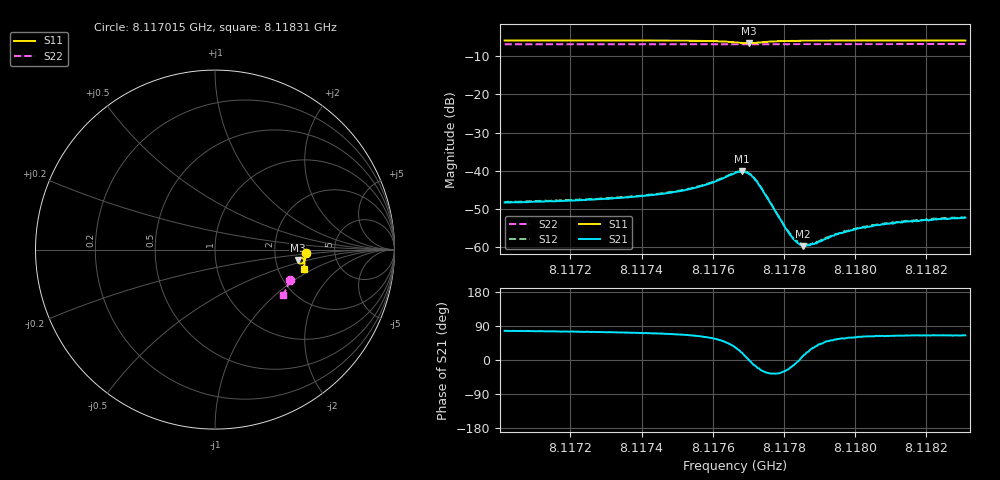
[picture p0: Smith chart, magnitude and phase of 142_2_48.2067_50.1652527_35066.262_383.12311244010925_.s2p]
#  HZ  S  RI  R  50.00
! Rohde & Schwarz Vector Network Analyzer
! Rohde-Schwarz,ZNB20-2Port,1311601062101988,3.16
! Created: UTC 3/20/2024, 11:42:21 AM
! freq[Hz]  re:S11  im:S11  re:S21  im:S21  re:S12  im:S12  re:S22  im:S22
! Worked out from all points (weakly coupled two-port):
!   401 points, 8.117015 GHz to 8.11831 GHz, reference 50 ohm
!   highest |S21| = -40.09 dB at 8.117682 GHz (marker M1); lowest = -59.6 dB at 8.117853 GHz (marker M2)
!   lowest |S11| = -6.6 dB at 8.117701 GHz (marker M3), VSWR 2.74, Z = 134 - j19.7 ohm
!   |S11| at or under -10 dB: nowhere
!   |S22| runs from -6.9 to -6.8 dB; largest |S21 - S12| = 0.00035
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8.1170152e9  0.5058 -0.0182  0.000861 0.00376  0.000913 0.0038  0.4173 -0.1705
8.117232e9  0.5044 -0.0358  0.00109 0.00399  0.00115 0.00405  0.4118 -0.1848
8.1174488e9  0.5012 -0.055  0.0017 0.00465  0.00178 0.00473  0.406 -0.1988
8.1175135e9  0.4989 -0.0621  0.00217 0.00506  0.00223 0.00516  0.404 -0.203
8.1175653e9  0.4955 -0.0685  0.0029 0.00557  0.00303 0.00562  0.4021 -0.2063
8.1176042e9  0.4906 -0.0742  0.00398 0.00596  0.0041 0.00603  0.4011 -0.2088
8.1176624e9  0.4721 -0.0775  0.00782 0.00521  0.00798 0.00518  0.3984 -0.2123
8.1176818e9  0.4637 -0.0705  0.00933 0.0033  0.00949 0.00311  0.3976 -0.213
8.1177012e9  0.4617 -0.0577  0.00917 2.5e-05  0.00936 -5.76e-05  0.3971 -0.2136
8.1177142e9  0.466 -0.0501  0.00805 -0.00173  0.00812 -0.00172  0.3969 -0.214
8.1177304e9  0.4744 -0.0453  0.00598 -0.00246  0.00605 -0.00274  0.3968 -0.2149
8.1178016e9  0.4949 -0.0552  0.00163 -0.000929  0.00164 -0.000961  0.3955 -0.22
8.117821e9  0.4965 -0.0587  0.00133 -0.00044  0.00136 -0.00048  0.395 -0.2211
8.1178404e9  0.4973 -0.0619  0.00112 -5.82e-05  0.00118 -2.55e-05  0.3944 -0.2224
8.1178534e9  0.4978 -0.0639  0.00103 0.000195  0.00108 0.000141  0.3941 -0.2232
8.1178792e9  0.4983 -0.0674  0.000945 0.000568  0.000974 0.000563  0.3933 -0.2251
8.1179504e9  0.4985 -0.0755  0.000845 0.00122  0.000888 0.0012  0.3909 -0.2296
8.1179699e9  0.4983 -0.0774  0.000862 0.00132  0.000913 0.00137  0.3901 -0.2308
8.1180119e9  0.4981 -0.0817  0.000863 0.00157  0.000871 0.0016  0.389 -0.2333
8.1180961e9  0.497 -0.0891  0.000909 0.00183  0.000928 0.00189  0.3859 -0.2386
8.1182255e9  0.4951 -0.0997  0.000982 0.00211  0.00106 0.00213  0.3815 -0.2464
8.1183097e9  0.4937 -0.1062  0.00104 0.00222  0.00109 0.00225  0.3784 -0.2516
